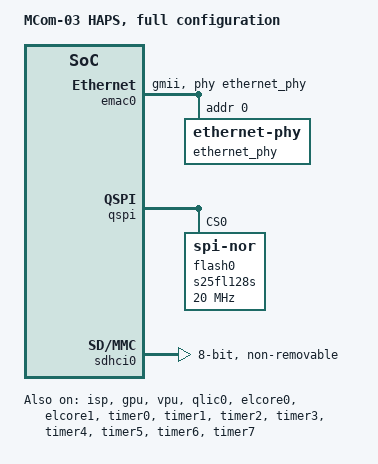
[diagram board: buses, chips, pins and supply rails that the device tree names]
// SPDX-License-Identifier: GPL-2.0+
/*
 * Copyright 2020 RnD Center "ELVEES", JSC
 */

/dts-v1/;

#include "mcom03-haps-common.dtsi"

/ {
	model = "MCom-03 HAPS, full configuration";

	aliases {
		spi0 = &qspi;
	};

	acptest {
		compatible = "elvees,acptest";
	};

	cpu_clk: cpu_clk {
		#clock-cells = <0>;
		compatible = "fixed-clock";
		clock-frequency = <10000000>;
	};

	common_clk: common_clk {
		#clock-cells = <0>;
		compatible = "fixed-clock";
		clock-frequency = <5000000>;
	};
};

/* To workaround bug MCOM03SW-382 "carveout" memory allocator is used
   in ISP driver. This is temporary solution. */
&reserved_memory {
	isp_reserved: isp_reserved@0xf0000000 {
		no-map;
		reg = <0 0xf0000000 0 0x8000000>;
	};
};

&isp {
	status = "okay";
	img,carveout-memory = <&isp_reserved>;
	clocks = <&common_clk>;
};

&gpu {
	status = "okay";
};

&vpu {
	status = "okay";
};

&emac0 {
	#address-cells = <1>;
	#size-cells = <0>;
	phy-mode = "gmii";
	status = "okay";
	phy-handle = <&ethernet_phy>;
	clocks = <&common_clk>;

	/* These two are required on HAPS due to its low frequency */
	arasan,max-mdc-freq = <150000>;
	arasan,tx-start-threshold = <1518>;

	ethernet_phy: ethernet-phy@0 {
		reg = <0x0>;
	};
};

&qlic0 {
	status = "okay";
};

&elcore0 {
	status = "okay";
};

&elcore1 {
	status = "okay";
};

&timer0 {
	clocks = <&common_clk>;
	status = "okay";
};

&timer1 {
	clocks = <&common_clk>;
	status = "okay";
};

&timer2 {
	clocks = <&common_clk>;
	status = "okay";
};

&timer3 {
	clocks = <&common_clk>;
	status = "okay";
};

&timer4 {
	clocks = <&common_clk>;
	status = "okay";
};

&timer5 {
	clocks = <&common_clk>;
	status = "okay";
};

&timer6 {
	clocks = <&common_clk>;
	status = "okay";
};

&timer7 {
	clocks = <&common_clk>;
	status = "okay";
};

&wdt0 {
	clocks = <&common_clk>;
};

&qspi {
	clocks = <&common_clk>, <&common_clk>;
	status = "okay";

	flash0: s25fl128s@0 {
		#address-cells = <1>;
		#size-cells = <1>;
		reg = <0>;
		compatible = "jedec,spi-nor";
		spi-max-frequency = <20000000>;
	};
};

&sdhci0 {
	/* SDHCI0 is connected to eMMC on HAPS */
	clocks = <&common_clk>, <&common_clk>;
	bus-width = <8>;
	no-1-8-v;
	non-removable;
	status = "okay";
	elvees,broken-hs;
	elvees,haps;
};
